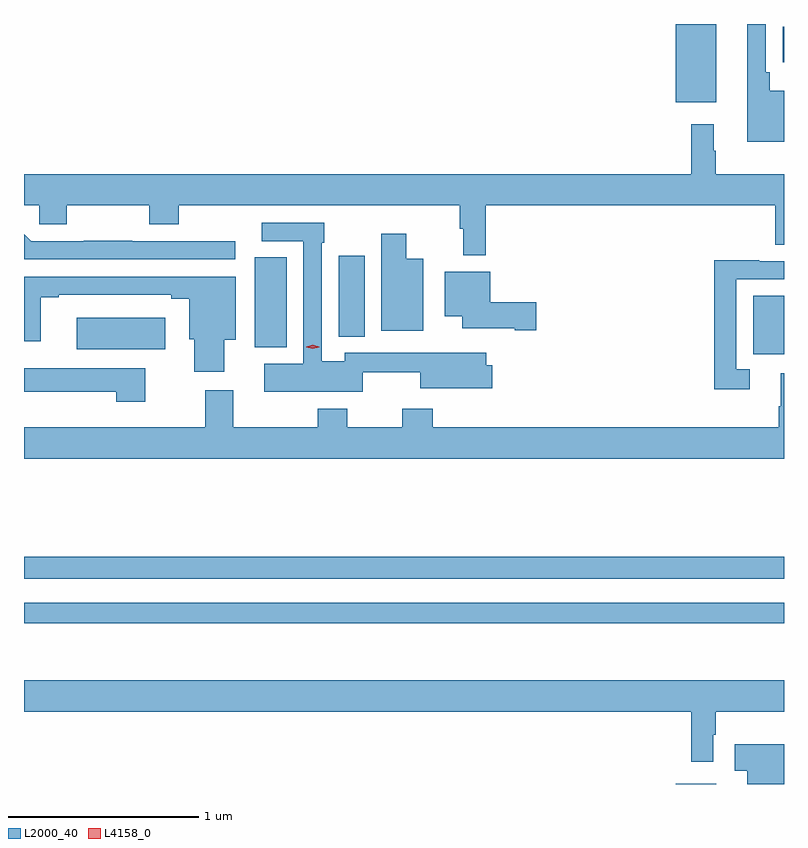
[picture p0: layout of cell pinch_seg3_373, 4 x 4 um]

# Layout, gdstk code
import gdstk
lib = gdstk.Library(unit=1e-6, precision=1e-09)
def R(c, l, rs):  # rectangles x0, y0, x1, y1
    for r in rs: c.add(gdstk.rectangle(r[:2], r[2:], *l))
def P(c, l, *ps):  # polygons
    for p in ps: c.add(gdstk.Polygon(p, *l))
L2000_40 = (2000, 40)
L4158_0 = (4158, 0)

pinch_seg3_373 = lib.new_cell('pinch_seg3_373')
R(pinch_seg3_373, L2000_40, [(997.856,692.543,998.071,692.545), (994.427,693.39,998.427,693.498), (994.427,693.624,998.427,693.74), (998.264,694.806,998.427,695.113), (994.704,694.832,995.17,694.996), (995.642,694.841,995.809,695.315), (996.083,694.897,996.22,695.323), (997.856,696.131,998.071,696.541), (998.42,696.341,998.427,696.529)])
P(pinch_seg3_373, L2000_40, [(998.427,696.193),(998.351,696.193),(998.351,696.289),(998.331,696.289),(998.331,696.543),(998.234,696.543),(998.234,695.924),(998.427,695.924)],
  [(996.857,695.588),(998.381,695.588),(998.381,695.38),(998.427,695.38),(998.427,695.752),(998.068,695.752),(998.068,695.876),(998.056,695.876),(998.056,696.016),(997.939,696.016),(997.939,695.752),(994.427,695.752),(994.427,695.588),(994.506,695.588),(994.506,695.49),(994.653,695.49),(994.653,695.588),(995.086,695.588),(995.086,695.489),(995.241,695.489),(995.241,695.588),(996.721,695.588),(996.721,695.465),(996.74,695.465),(996.74,695.325),(996.857,695.325)],
  [(996.21,694.711),(996.512,694.711),(996.512,694.625),(996.892,694.625),(996.892,694.747),(996.859,694.747),(996.859,694.813),(996.616,694.813),(996.616,694.812),(996.114,694.812),(996.114,694.768),(995.994,694.768),(995.994,695.393),(996.007,695.393),(996.007,695.496),(995.679,695.496),(995.679,695.4),(995.898,695.4),(995.898,694.756),(995.691,694.756),(995.691,694.607),(996.21,694.607)],
  [(996.529,695.308),(996.438,695.308),(996.438,695.44),(996.308,695.44),(996.308,694.928),(996.529,694.928)],
  [(995.539,695.4),(994.997,695.4),(994.997,695.402),(994.741,695.402),(994.741,695.4),(994.464,695.4),(994.427,695.437),(994.427,695.304),(995.539,695.304)],
  [(998.248,694.725),(998.175,694.725),(998.175,695.199),(998.427,695.199),(998.427,695.295),(998.297,695.295),(998.297,695.3),(998.059,695.3),(998.059,694.62),(998.248,694.62)],
  [(997.123,695.078),(996.88,695.078),(996.88,695.239),(996.641,695.239),(996.641,695.006),(996.734,695.006),(996.734,694.943),(997.01,694.943),(997.01,694.931),(997.123,694.931)],
  [(995.482,694.88),(995.542,694.88),(995.542,695.214),(994.427,695.214),(994.427,694.872),(994.514,694.872),(994.514,695.106),(994.609,695.106),(994.609,695.118),(995.201,695.118),(995.201,695.098),(995.297,695.098),(995.297,694.884),(995.324,694.884),(995.324,694.713),(995.482,694.713)],
  [(995.065,694.732),(994.427,694.732),(994.427,694.607),(994.913,694.607),(994.913,694.554),(995.065,694.554)],
  [(998.427,694.706),(998.411,694.706),(998.411,694.532),(998.399,694.532),(998.399,694.42),(996.578,694.42),(996.578,694.519),(996.418,694.519),(996.418,694.42),(996.129,694.42),(996.129,694.519),(995.974,694.519),(995.974,694.42),(995.527,694.42),(995.527,694.615),(995.38,694.615),(995.38,694.42),(994.427,694.42),(994.427,694.256),(998.427,694.256)],
  [(998.055,692.801),(998.068,692.801),(998.068,692.924),(998.427,692.924),(998.427,693.088),(994.427,693.088),(994.427,692.924),(997.939,692.924),(997.939,692.661),(998.055,692.661)],
  [(998.427,692.752),(998.168,692.752),(998.168,692.612),(998.234,692.612),(998.234,692.543),(998.427,692.543)])
P(pinch_seg3_373, L4158_0, [(995.947,694.834),(995.912,694.843),(995.912,694.844),(995.912,694.844),(995.947,694.854),(995.982,694.844),(995.982,694.844),(995.982,694.843)])

lib.write_gds('pinch_seg3_373.gds')
